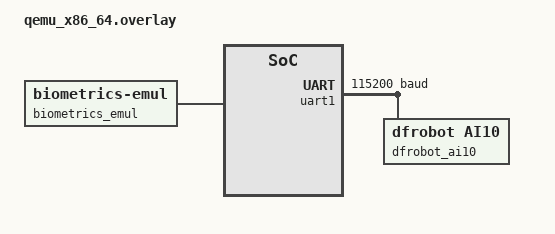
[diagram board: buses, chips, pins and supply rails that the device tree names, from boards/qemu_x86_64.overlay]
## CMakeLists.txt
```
# SPDX-License-Identifier: Apache-2.0

cmake_minimum_required(VERSION 3.20.0)

find_package(Zephyr REQUIRED HINTS $ENV{ZEPHYR_BASE})
project(biometric_station)

target_sources(app PRIVATE src/main.c)
```

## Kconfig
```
# Copyright (c) 2026 The Zephyr Project Contributors
# SPDX-License-Identifier: Apache-2.0

mainmenu "Biometric Station sample application"

config BIOMETRIC_STATION_ENABLE_ENROLL
	bool "Enable enrollment flow"
	default y
	help
	  When enabled, the sample checks whether any template is present and runs
	  the guided enrollment path when the database is empty.

	  When disabled, the application skips enrollment entirely and removes the
	  enrollment-specific UI so the station behaves as an identify-only kiosk.

source "Kconfig.zephyr"
```

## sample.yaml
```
# SPDX-License-Identifier: Apache-2.0

sample:
  name: Biometric Station
  description: LVGL kiosk-style biometrics demo for qemu_x86 using the generic biometrics API

common:
  modules:
    - lvgl
  tags:
    - biometrics
    - display
    - gui
    - lvgl
    - samples

tests:
  sample.drivers.biometrics.biometric_station:
    build_only: true
    filter: dt_alias_exists("biometrics") and dt_chosen_enabled("zephyr,display")
    platform_allow:
      - qemu_x86
```

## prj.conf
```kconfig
# SPDX-License-Identifier: Apache-2.0

CONFIG_BIOMETRICS=y
CONFIG_SERIAL=y
CONFIG_UART_INTERRUPT_DRIVEN=y

CONFIG_LOG=y
CONFIG_BIOMETRICS_LOG_LEVEL_INF=y

CONFIG_MAIN_STACK_SIZE=8192
CONFIG_HEAP_MEM_POOL_SIZE=16384

CONFIG_DISPLAY=y
CONFIG_DISPLAY_LOG_LEVEL_ERR=y

CONFIG_INPUT=y

CONFIG_LVGL=y
CONFIG_LV_USE_LOG=y
CONFIG_LV_COLOR_DEPTH_32=y

CONFIG_LV_USE_LABEL=y
CONFIG_LV_USE_BAR=y
CONFIG_LV_USE_SPINNER=y
CONFIG_LV_USE_ARC=y

CONFIG_LV_FONT_MONTSERRAT_14=y
CONFIG_LV_FONT_MONTSERRAT_18=y
CONFIG_LV_FONT_MONTSERRAT_24=y
CONFIG_LV_FONT_MONTSERRAT_32=y
CONFIG_LV_FONT_MONTSERRAT_48=y
CONFIG_LV_FONT_UNSCII_8=y
CONFIG_LV_FONT_UNSCII_16=y

CONFIG_BIOMETRIC_STATION_ENABLE_ENROLL=y
```

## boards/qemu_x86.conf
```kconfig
# SPDX-License-Identifier: Apache-2.0

CONFIG_MAIN_STACK_SIZE=16384
CONFIG_LV_Z_MEM_POOL_SIZE=98304
CONFIG_LV_DRAW_LAYER_SIMPLE_BUF_SIZE=32768
CONFIG_LV_DRAW_LAYER_MAX_MEMORY=98304

# To connect QEMU to a real sensor via USB-serial adapter, use the
# serial_bridge.py script (see scripts/ directory) which opens the host
# serial port at the correct baud rate and exposes a PTY for QEMU:
#
#   python3 scripts/serial_bridge.py /dev/tty.usbserial-XXXX 115200
#
# Then set the PTY path printed by the script below:
# CONFIG_QEMU_EXTRA_FLAGS="-serial /dev/ttysNNN"
#
# For testing with socat (fake responses):
#   socat -d -d pty,raw,echo=0 pty,raw,echo=0
CONFIG_QEMU_EXTRA_FLAGS="-serial /dev/ttys014"
CONFIG_QEMU_ICOUNT=n

CONFIG_LOG=y
CONFIG_BIOMETRICS_LOG_LEVEL_DBG=y

CONFIG_BIOMETRIC_STATION_ENABLE_ENROLL=n
```

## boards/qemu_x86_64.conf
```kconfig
# SPDX-License-Identifier: Apache-2.0

CONFIG_MAIN_STACK_SIZE=16384
CONFIG_LV_Z_MEM_POOL_SIZE=98304
CONFIG_LV_DRAW_LAYER_SIMPLE_BUF_SIZE=32768
CONFIG_LV_DRAW_LAYER_MAX_MEMORY=98304

CONFIG_QEMU_EXTRA_FLAGS="-serial /dev/ttys018"

CONFIG_LOG=y
CONFIG_BIOMETRICS_LOG_LEVEL_DBG=y
```

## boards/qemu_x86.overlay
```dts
/*
 * SPDX-License-Identifier: Apache-2.0
 */

/ {
	aliases {
		//		biometrics = &biometrics_emul;
		biometrics = &dfrobot_ai10;
	};

	biometrics_emul: biometrics-emul {
		compatible = "zephyr,biometrics-emul";
		status = "disabled";
	};
};

/* Board default attaches BT HCI on uart1; disable so the AI10 is the sole uart1 user. */
&bt_hci_uart {
	status = "disabled";
};

&uart1 {
	current-speed = <115200>;

	dfrobot_ai10: dfrobot_ai10 {
		compatible = "dfrobot,ai10";
		status = "okay";
	};
};
```

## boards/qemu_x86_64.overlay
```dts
/*
 * SPDX-License-Identifier: Apache-2.0
 */

/ {
	aliases {
		//		biometrics = &biometrics_emul;
		biometrics = &dfrobot_ai10;
	};

	biometrics_emul: biometrics-emul {
		compatible = "zephyr,biometrics-emul";
		status = "okay";
	};
};

&uart1 {
	current-speed = <115200>;

	dfrobot_ai10: dfrobot_ai10 {
		compatible = "dfrobot,ai10";
		status = "okay";
	};
};
```

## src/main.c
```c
/*
 * Copyright (c) 2026 The Zephyr Project Contributors
 *
 * SPDX-License-Identifier: Apache-2.0
 */

#include <zephyr/device.h>
#include <zephyr/devicetree.h>
#include <zephyr/drivers/biometrics.h>
#include <zephyr/drivers/biometrics_dfrobot_ai10.h>
#include <zephyr/drivers/biometrics/emul.h>
#include <zephyr/drivers/display.h>
#include <zephyr/drivers/uart.h>
#include <zephyr/kernel.h>
#include <zephyr/logging/log.h>
#include <zephyr/sys/util.h>

#include <lvgl.h>

#include <errno.h>
#include <stdio.h>
#include <string.h>

LOG_MODULE_REGISTER(app, LOG_LEVEL_INF);

#define BIOMETRICS_NODE DT_ALIAS(biometrics)

#if !DT_NODE_EXISTS(BIOMETRICS_NODE)
#error "Devicetree alias 'biometrics' must point at a biometric device"
#endif

#define ENROLL_TEMPLATE_ID 1U
#define SPLASH_TIME_MS     1200U
#define PROMPT_TIME_MS     1500U
#define WORKER_PRIORITY    8
#define WORKER_STACK_SIZE  4096
#define UI_QUEUE_LEN       8
#define UI_CARD_WIDTH_PCT  72
#define UI_PROGRESS_SCALE  100
#define RESULT_TECH_COLOR  0x8ea0b5

enum emul_behavior_mode {
	EMUL_BEHAVIOR_SUCCESS = 0,
	EMUL_BEHAVIOR_NO_MATCH,
	EMUL_BEHAVIOR_TIMEOUT,
};

#define APP_EMULATOR_BEHAVIOR EMUL_BEHAVIOR_SUCCESS

enum app_state {
	APP_STATE_SPLASH = 0,
	APP_STATE_ENROLLING,
	APP_STATE_PROMPT,
	APP_STATE_SCANNING,
	APP_STATE_RESULT,
};

enum worker_command_type {
	WORKER_CMD_ENROLL = 1,
	WORKER_CMD_IDENTIFY,
};

enum ui_event_type {
	UI_EVT_ENROLL_PROGRESS = 1,
	UI_EVT_ENROLL_DONE,
	UI_EVT_IDENTIFY_DONE,
};

struct worker_command {
	uint8_t type;
};

struct ui_event {
	uint8_t type;
	int32_t result;
	bool has_user_info;
	union {
		struct biometric_capture_result capture;
		struct biometric_match_result match;
	} data;
	struct dfrobot_ai10_user_info user_info;
};

K_MSGQ_DEFINE(worker_cmd_msgq, sizeof(struct worker_command), 4, 4);
K_MSGQ_DEFINE(ui_evt_msgq, sizeof(struct ui_event), UI_QUEUE_LEN, 4);
K_THREAD_STACK_DEFINE(worker_stack, WORKER_STACK_SIZE);

static const struct device *const biometric = DEVICE_DT_GET(BIOMETRICS_NODE);
static const struct device *const display = DEVICE_DT_GET(DT_CHOSEN(zephyr_display));
#if DT_HAS_CHOSEN(zephyr_console)
static const struct device *const console_dev = DEVICE_DT_GET(DT_CHOSEN(zephyr_console));
#else
static const struct device *const console_dev;
#endif

static struct k_thread worker_thread;

static enum app_state current_state;
static uint32_t state_deadline_ms;
static bool identify_requested;

static lv_obj_t *screen;
static lv_obj_t *ambient_top;
static lv_obj_t *ambient_bottom;
static lv_obj_t *card;
static lv_obj_t *badge;
static lv_obj_t *title_label;
static lv_obj_t *subtitle_label;
static lv_obj_t *hero_ring;
static lv_obj_t *success_icon;
static lv_obj_t *busy_spinner;
static lv_obj_t *progress_bar;
static lv_obj_t *metrics_label;
static lv_obj_t *footer_label;
static lv_obj_t *stage_row;
static lv_obj_t *stage_label[4];

static void set_state(enum app_state state, uint32_t duration_ms)
{
	current_state = state;
	state_deadline_ms = duration_ms == 0U ? 0U : k_uptime_get_32() + duration_ms;
}

static bool is_emulator(void)
{
	return DT_NODE_HAS_COMPAT(BIOMETRICS_NODE, zephyr_biometrics_emul);
}

static bool enrollment_enabled(void)
{
	return IS_ENABLED(CONFIG_BIOMETRIC_STATION_ENABLE_ENROLL);
}

static void queue_worker_command(enum worker_command_type type)
{
	const struct worker_command cmd = {
		.type = type,
	};

	if (k_msgq_put(&worker_cmd_msgq, &cmd, K_NO_WAIT) != 0) {
		LOG_ERR("Worker command queue full");
	}
}

static void queue_ui_event(const struct ui_event *evt)
{
	if (k_msgq_put(&ui_evt_msgq, evt, K_MSEC(250)) != 0) {
		LOG_ERR("UI event queue full");
	}
}

static bool templates_present(void)
{
	uint16_t ids[4];
	size_t count = 0;
	int ret;

	ret = biometric_template_list(biometric, ids, ARRAY_SIZE(ids), &count);
	if (ret < 0) {
		LOG_ERR("biometric_template_list failed: %d", ret);
		return false;
	}

	return count > 0U;
}

static void maybe_configure_identify_behavior(void)
{
	if (!is_emulator()) {
		return;
	}

	biometrics_emul_set_match_fail(biometric, false);
	biometrics_emul_set_capture_timeout(biometric, false);
	biometrics_emul_set_match_score(biometric, 92);
	biometrics_emul_set_image_quality(biometric, 88);
	biometrics_emul_set_match_id(biometric, ENROLL_TEMPLATE_ID);

	if (APP_EMULATOR_BEHAVIOR == EMUL_BEHAVIOR_NO_MATCH) {
		biometrics_emul_set_match_fail(biometric, true);
	} else if (APP_EMULATOR_BEHAVIOR == EMUL_BEHAVIOR_TIMEOUT) {
		biometrics_emul_set_capture_timeout(biometric, true);
	}
}

static void style_root(lv_obj_t *obj)
{
	lv_obj_set_style_bg_color(obj, lv_color_hex(0x0d1321), 0);
	lv_obj_set_style_bg_grad_color(obj, lv_color_hex(0x1d2d44), 0);
	lv_obj_set_style_bg_grad_dir(obj, LV_GRAD_DIR_VER, 0);
	lv_obj_set_style_bg_opa(obj, LV_OPA_COVER, 0);
	lv_obj_clear_flag(obj, LV_OBJ_FLAG_SCROLLABLE);
}

static void style_panel(lv_obj_t *obj, lv_color_t color, lv_opa_t opa)
{
	lv_obj_set_style_radius(obj, 32, 0);
	lv_obj_set_style_bg_color(obj, color, 0);
	lv_obj_set_style_bg_opa(obj, opa, 0);
	lv_obj_set_style_border_width(obj, 0, 0);
}

static void style_card(void)
{
	lv_obj_set_style_radius(card, 30, 0);
	lv_obj_set_style_bg_color(card, lv_color_hex(0x132238), 0);
	lv_obj_set_style_bg_grad_color(card, lv_color_hex(0x0f1b2d), 0);
	lv_obj_set_style_bg_grad_dir(card, LV_GRAD_DIR_VER, 0);
	lv_obj_set_style_bg_opa(card, LV_OPA_COVER, 0);
	lv_obj_set_style_border_color(card, lv_color_hex(0x2b4162), 0);
	lv_obj_set_style_border_width(card, 1, 0);
	lv_obj_set_style_pad_top(card, 34, 0);
	lv_obj_set_style_pad_bottom(card, 34, 0);
	lv_obj_set_style_pad_left(card, 36, 0);
	lv_obj_set_style_pad_right(card, 36, 0);
	lv_obj_set_style_pad_row(card, 16, 0);
}

static void build_stage_row(void)
{
	static const char *const labels_with_enroll[] = {"Intro", "Enroll", "Scan", "Result"};
	static const char *const labels_identify_only[] = {"Intro", "", "Scan", "Result"};
	const char *const *labels =
		enrollment_enabled() ? labels_with_enroll : labels_identify_only;

	stage_row = lv_obj_create(card);
	lv_obj_set_width(stage_row, LV_PCT(100));
	lv_obj_set_height(stage_row, LV_SIZE_CONTENT);
	lv_obj_set_style_bg_opa(stage_row, LV_OPA_TRANSP, 0);
	lv_obj_set_style_border_width(stage_row, 0, 0);
	lv_obj_set_style_pad_all(stage_row, 0, 0);
	lv_obj_set_style_pad_column(stage_row, 10, 0);
	lv_obj_set_flex_flow(stage_row, LV_FLEX_FLOW_ROW);
	lv_obj_set_flex_align(stage_row, LV_FLEX_ALIGN_SPACE_BETWEEN, LV_FLEX_ALIGN_CENTER,
			      LV_FLEX_ALIGN_CENTER);

	for (size_t i = 0; i < ARRAY_SIZE(stage_label); i++) {
		stage_label[i] = lv_label_create(stage_row);
		lv_label_set_text(stage_label[i], labels[i]);
		lv_obj_set_style_text_font(stage_label[i], &lv_font_montserrat_14, 0);

		if (!enrollment_enabled() && i == APP_STATE_ENROLLING) {
			lv_obj_add_flag(stage_label[i], LV_OBJ_FLAG_HIDDEN);
		}
	}
}

static void build_ui(void)
{
	screen = lv_obj_create(NULL);
	style_root(screen);

	ambient_top = lv_obj_create(screen);
	style_panel(ambient_top, lv_color_hex(0x2ec4b6), LV_OPA_20);
	lv_obj_set_size(ambient_top, 240, 140);
	lv_obj_align(ambient_top, LV_ALIGN_TOP_LEFT, 60, 50);

	ambient_bottom = lv_obj_create(screen);
	style_panel(ambient_bottom, lv_color_hex(0xff9f1c), LV_OPA_20);
	lv_obj_set_size(ambient_bottom, 200, 120);
	lv_obj_align(ambient_bottom, LV_ALIGN_BOTTOM_RIGHT, -70, -60);

	card = lv_obj_create(screen);
	style_card();
	lv_obj_set_width(card, LV_PCT(UI_CARD_WIDTH_PCT));
	lv_obj_set_height(card, LV_PCT(72));
	lv_obj_align(card, LV_ALIGN_CENTER, 0, 0);
	lv_obj_set_flex_flow(card, LV_FLEX_FLOW_COLUMN);
	lv_obj_set_flex_align(card, LV_FLEX_ALIGN_START, LV_FLEX_ALIGN_CENTER,
			      LV_FLEX_ALIGN_CENTER);

	badge = lv_label_create(card);
	lv_label_set_text(badge, "BIOMETRIC STATION");
	lv_obj_set_style_text_font(badge, &lv_font_montserrat_14, 0);
	lv_obj_set_style_text_letter_space(badge, 2, 0);
	lv_obj_set_style_text_color(badge, lv_color_hex(0x9ad1d4), 0);

	title_label = lv_label_create(card);
	lv_obj_set_width(title_label, LV_PCT(100));
	lv_obj_set_style_text_font(title_label, &lv_font_montserrat_32, 0);
	lv_obj_set_style_text_color(title_label, lv_color_hex(0xf0f4f8), 0);
	lv_obj_set_style_text_align(title_label, LV_TEXT_ALIGN_CENTER, 0);
	lv_label_set_long_mode(title_label, LV_LABEL_LONG_WRAP);

	subtitle_label = lv_label_create(card);
	lv_obj_set_width(subtitle_label, LV_PCT(100));
	lv_obj_set_style_text_font(subtitle_label, &lv_font_montserrat_18, 0);
	lv_obj_set_style_text_color(subtitle_label, lv_color_hex(0xb6c2cf), 0);
	lv_obj_set_style_text_align(subtitle_label, LV_TEXT_ALIGN_CENTER, 0);
	lv_label_set_long_mode(subtitle_label, LV_LABEL_LONG_WRAP);

	hero_ring = lv_arc_create(card);
	lv_obj_set_size(hero_ring, 170, 170);
	lv_arc_set_rotation(hero_ring, 120);
	lv_arc_set_bg_angles(hero_ring, 0, 300);
	lv_arc_set_range(hero_ring, 0, UI_PROGRESS_SCALE);
	lv_arc_set_value(hero_ring, 35);
	lv_obj_remove_style(hero_ring, NULL, LV_PART_KNOB);
	lv_obj_set_style_arc_width(hero_ring, 14, LV_PART_MAIN);
	lv_obj_set_style_arc_color(hero_ring, lv_color_hex(0x31445a), LV_PART_MAIN);
	lv_obj_set_style_arc_width(hero_ring, 14, LV_PART_INDICATOR);
	lv_obj_set_style_arc_color(hero_ring, lv_color_hex(0x2ec4b6), LV_PART_INDICATOR);
	lv_obj_set_style_pad_all(hero_ring, 8, 0);

	success_icon = lv_label_create(card);
	lv_label_set_text(success_icon, LV_SYMBOL_OK);
	lv_obj_set_style_text_font(success_icon, &lv_font_montserrat_48, 0);
	lv_obj_set_style_text_color(success_icon, lv_color_hex(0x22c55e), 0);
	lv_obj_set_style_text_align(success_icon, LV_TEXT_ALIGN_CENTER, 0);
	lv_obj_add_flag(success_icon, LV_OBJ_FLAG_HIDDEN);

	busy_spinner = lv_spinner_create(card);
	lv_obj_set_size(busy_spinner, 110, 110);
	lv_obj_center(busy_spinner);
	lv_obj_add_flag(busy_spinner, LV_OBJ_FLAG_HIDDEN);

	progress_bar = lv_bar_create(card);
	lv_obj_set_width(progress_bar, LV_PCT(100));
	lv_obj_set_height(progress_bar, 14);
	lv_bar_set_range(progress_bar, 0, UI_PROGRESS_SCALE);
	lv_obj_set_style_bg_color(progress_bar, lv_color_hex(0x203246), LV_PART_MAIN);
	lv_obj_set_style_bg_opa(progress_bar, LV_OPA_COVER, LV_PART_MAIN);
	lv_obj_set_style_radius(progress_bar, 12, LV_PART_MAIN);
	lv_obj_set_style_bg_color(progress_bar, lv_color_hex(0x2ec4b6), LV_PART_INDICATOR);
	lv_obj_set_style_radius(progress_bar, 12, LV_PART_INDICATOR);

	metrics_label = lv_label_create(card);
	lv_obj_set_width(metrics_label, LV_PCT(100));
	lv_obj_set_style_text_font(metrics_label, &lv_font_unscii_8, 0);
	lv_obj_set_style_text_color(metrics_label, lv_color_hex(RESULT_TECH_COLOR), 0);
	lv_obj_set_style_text_align(metrics_label, LV_TEXT_ALIGN_CENTER, 0);
	lv_label_set_long_mode(metrics_label, LV_LABEL_LONG_WRAP);

	build_stage_row();

	footer_label = lv_label_create(card);
	lv_obj_set_width(footer_label, LV_PCT(100));
	lv_obj_set_style_text_font(footer_label, &lv_font_montserrat_14, 0);
	lv_obj_set_style_text_color(footer_label, lv_color_hex(0x7d8ca1), 0);
	lv_obj_set_style_text_align(footer_label, LV_TEXT_ALIGN_CENTER, 0);
	lv_label_set_long_mode(footer_label, LV_LABEL_LONG_WRAP);

	lv_screen_load(screen);
}

static void update_stage_labels(enum app_state state)
{
	static const lv_color_t inactive = LV_COLOR_MAKE(0x89, 0x98, 0xaa);
	static const lv_color_t active = LV_COLOR_MAKE(0xf0, 0xf4, 0xf8);
	static const lv_color_t done = LV_COLOR_MAKE(0x2e, 0xc4, 0xb6);

	for (size_t i = 0; i < ARRAY_SIZE(stage_label); i++) {
		lv_color_t color = inactive;

		if (!enrollment_enabled() && i == APP_STATE_ENROLLING) {
			continue;
		}

		if (state == APP_STATE_RESULT) {
			color = (i < 3U) ? done : active;
		} else if (i < (size_t)state) {
			color = done;
		} else if (i == (size_t)state) {
			color = active;
		}

		lv_obj_set_style_text_color(stage_label[i], color, 0);
	}
}

static void set_ring_visual(lv_color_t color, int value)
{
	lv_arc_set_value(hero_ring, CLAMP(value, 0, UI_PROGRESS_SCALE));
	lv_obj_set_style_arc_color(hero_ring, color, LV_PART_INDICATOR);
}

static void show_busy_spinner(bool show)
{
	if (show) {
		lv_obj_clear_flag(busy_spinner, LV_OBJ_FLAG_HIDDEN);
	} else {
		lv_obj_add_flag(busy_spinner, LV_OBJ_FLAG_HIDDEN);
	}
}

static void show_success_icon(bool show)
{
	if (show) {
		lv_obj_clear_flag(success_icon, LV_OBJ_FLAG_HIDDEN);
	} else {
		lv_obj_add_flag(success_icon, LV_OBJ_FLAG_HIDDEN);
	}
}

static void show_hero_ring(bool show)
{
	if (show) {
		lv_obj_clear_flag(hero_ring, LV_OBJ_FLAG_HIDDEN);
	} else {
		lv_obj_add_flag(hero_ring, LV_OBJ_FLAG_HIDDEN);
	}
}

static void show_progress_bar(bool show)
{
	if (show) {
		lv_obj_clear_flag(progress_bar, LV_OBJ_FLAG_HIDDEN);
	} else {
		lv_obj_add_flag(progress_bar, LV_OBJ_FLAG_HIDDEN);
	}
}

static void show_stage_row(bool show)
{
	if (show) {
		lv_obj_clear_flag(stage_row, LV_OBJ_FLAG_HIDDEN);
	} else {
		lv_obj_add_flag(stage_row, LV_OBJ_FLAG_HIDDEN);
	}
}

static void render_splash_state(void)
{
	set_state(APP_STATE_SPLASH, SPLASH_TIME_MS);
	update_stage_labels(APP_STATE_SPLASH);
	set_ring_visual(lv_color_hex(0xff9f1c), 18);
	show_busy_spinner(false);
	show_success_icon(false);
	show_hero_ring(true);
	show_progress_bar(false);
	show_stage_row(true);
	lv_bar_set_value(progress_bar, 0, LV_ANIM_OFF);
	lv_label_set_text(title_label, "Initializing station");
	lv_label_set_text(subtitle_label, "Preparing the display pipeline and biometric session.");
	lv_label_set_text(metrics_label, "Resolution 1024 x 768");
	lv_label_set_text(footer_label, "qemu_x86 RAM framebuffer with generic biometrics API");
}

static void render_console_gate_state(void)
{
	set_state(APP_STATE_SPLASH, 0);
	update_stage_labels(APP_STATE_SPLASH);
	set_ring_visual(lv_color_hex(0x5bc0eb), 12);
	show_busy_spinner(false);
	show_success_icon(false);
	show_hero_ring(true);
	show_progress_bar(false);
	show_stage_row(false);
	lv_bar_set_value(progress_bar, 0, LV_ANIM_OFF);
	lv_label_set_text(title_label, "Station armed");
	lv_label_set_text(subtitle_label,
			  "Press any key on the Zephyr console to start the biometric flow.");
	lv_label_set_text(metrics_label, "console gate enabled");
	lv_label_set_text(footer_label,
			  "This keeps the demo idle until the sensor setup is ready.");
}

static void wait_for_console_key(void)
{
	unsigned char ch;

	if (console_dev == NULL || !device_is_ready(console_dev)) {
		LOG_WRN("Console device unavailable, starting immediately");
		return;
	}

	/* Drop any pending bytes so a previous terminal session does not auto-start the demo. */
	while (uart_poll_in(console_dev, &ch) == 0) {
	}

	LOG_INF("Press any key on %s to start the station", console_dev->name);

	while (uart_poll_in(console_dev, &ch) != 0) {
		k_msleep(MIN(lv_timer_handler(), 10U));
	}

	LOG_INF("Startup key received: 0x%02x", ch);
}

#if defined(CONFIG_BIOMETRIC_STATION_ENABLE_ENROLL)
static void render_enroll_idle_state(void)
{
	set_state(APP_STATE_ENROLLING, 0);
	update_stage_labels(APP_STATE_ENROLLING);
	set_ring_visual(lv_color_hex(0x2ec4b6), 8);
	show_busy_spinner(false);
	show_success_icon(false);
	show_hero_ring(true);
	show_progress_bar(true);
	show_stage_row(true);
	lv_bar_set_value(progress_bar, 0, LV_ANIM_OFF);
	lv_label_set_text(title_label, "Registering identity");
	lv_label_set_text(subtitle_label,
			  "No template is stored yet. Enrollment starts automatically.");
	lv_label_set_text(metrics_label, "Waiting for biometric samples");
	lv_label_set_text(footer_label, "The worker thread is capturing enrollment data now.");
}
#endif

static void render_prompt_state(void)
{
	set_state(APP_STATE_PROMPT, PROMPT_TIME_MS);
	identify_requested = false;
	update_stage_labels(APP_STATE_PROMPT);
	set_ring_visual(lv_color_hex(0x5bc0eb), 64);
	show_busy_spinner(false);
	show_success_icon(false);
	show_hero_ring(true);
	show_progress_bar(true);
	show_stage_row(enrollment_enabled());
	lv_bar_set_value(progress_bar, UI_PROGRESS_SCALE, LV_ANIM_ON);
	lv_label_set_text(title_label, "Identify yourself");
	lv_label_set_text(subtitle_label,
			  "Hold steady for the next scan. The station will begin automatically.");
	lv_label_set_text(metrics_label, "profile ready");
	lv_label_set_text(footer_label, "Starting identification shortly.");
}

static void render_scanning_state(void)
{
	set_state(APP_STATE_SCANNING, 0);
	update_stage_labels(APP_STATE_SCANNING);
	set_ring_visual(lv_color_hex(0xff9f1c), 82);
	show_busy_spinner(true);
	show_success_icon(false);
	show_hero_ring(false);
	show_progress_bar(false);
	show_stage_row(false);
	lv_bar_set_value(progress_bar, 0, LV_ANIM_OFF);
	lv_label_set_text(title_label, "Scanning");
	lv_label_set_text(subtitle_label, "Comparing live capture against the enrolled profile.");
	lv_label_set_text(metrics_label, "Authentication in progress");
	lv_label_set_text(footer_label, "Waiting for the match result.");
}

static void render_result_success(const struct ui_event *evt)
{
	const struct biometric_match_result *match = &evt->data.match;
	char metrics[128];
	const char *name = (evt->has_user_info && evt->user_info.user_name[0] != '\0')
				   ? evt->user_info.user_name
				   : "recognized user";

	set_state(APP_STATE_RESULT, 0);
	update_stage_labels(APP_STATE_RESULT);
	set_ring_visual(lv_color_hex(0x2ec4b6), UI_PROGRESS_SCALE);
	show_busy_spinner(false);
	show_success_icon(true);
	show_hero_ring(false);
	show_progress_bar(false);
	show_stage_row(false);
	lv_bar_set_value(progress_bar, 0, LV_ANIM_OFF);
	lv_label_set_text(title_label, "Welcome back");
	lv_label_set_text(subtitle_label, name);
	snprintk(metrics, sizeof(metrics), "uid:%u / confidence:%d / quality:%u",
		 match->template_id, match->confidence, match->image_quality);
	lv_label_set_text(metrics_label, metrics);
	lv_label_set_text(footer_label, "Identity confirmed. The station remains on this result.");
}

static void render_result_failure(int32_t result)
{
	lv_color_t ring_color;
	const char *title;
	const char *subtitle;

	set_state(APP_STATE_RESULT, 0);
	update_stage_labels(APP_STATE_RESULT);
	show_busy_spinner(false);
	show_success_icon(false);
	show_hero_ring(true);
	show_progress_bar(false);
	show_stage_row(false);
	lv_bar_set_value(progress_bar, 0, LV_ANIM_OFF);

	if (result == -ENOENT) {
		ring_color = lv_color_hex(0xe76f51);
		title = "Not recognized";
		subtitle = "No stored identity matched the captured biometric data.";
	} else if (result == -ETIMEDOUT) {
		ring_color = lv_color_hex(0xffb703);
		title = "Timed out";
		subtitle = "The sensor did not complete the scan before the timeout expired.";
	} else {
		ring_color = lv_color_hex(0xe63946);
		title = "Error";
		subtitle = "The biometric operation failed before a usable result was produced.";
	}

	set_ring_visual(ring_color, 100);
	lv_label_set_text(title_label, title);
	lv_label_set_text(subtitle_label, subtitle);
	lv_label_set_text(metrics_label, "status: held for inspection");
	lv_label_set_text(footer_label,
			  "Check sensor configuration or emulator behavior and rerun.");
}

#if defined(CONFIG_BIOMETRIC_STATION_ENABLE_ENROLL)
static void handle_enroll_progress(const struct biometric_capture_result *capture)
{
	char detail[96];
	int progress;

	progress = (capture->samples_captured * UI_PROGRESS_SCALE) / capture->samples_required;
	set_ring_visual(lv_color_hex(0x2ec4b6), progress);
	lv_bar_set_value(progress_bar, progress, LV_ANIM_ON);
	snprintk(detail, sizeof(detail), "Sample %u/%u captured   Quality %u",
		 capture->samples_captured, capture->samples_required, capture->quality);
	lv_label_set_text(metrics_label, detail);

	if (capture->samples_captured < capture->samples_required) {
		lv_label_set_text(subtitle_label,
				  "Enrollment is underway. Additional samples are still needed.");
		lv_label_set_text(footer_label, "The next sample is captured automatically.");
	} else {
		lv_label_set_text(subtitle_label, "Enrollment data complete. Finalizing template.");
		lv_label_set_text(footer_label,
				  "Writing the new identity to the biometrics device.");
	}
}
#endif

static void process_ui_event(const struct ui_event *evt)
{
	switch (evt->type) {
#if defined(CONFIG_BIOMETRIC_STATION_ENABLE_ENROLL)
	case UI_EVT_ENROLL_PROGRESS:
		handle_enroll_progress(&evt->data.capture);
		break;
	case UI_EVT_ENROLL_DONE:
		if (evt->result == 0) {
			render_prompt_state();
		} else {
			render_result_failure(evt->result);
		}
		break;
#endif
	case UI_EVT_IDENTIFY_DONE:
		if (evt->result == 0) {
			render_result_success(evt);
		} else {
			render_result_failure(evt->result);
		}
		break;
	default:
		break;
	}
}

#if defined(CONFIG_BIOMETRIC_STATION_ENABLE_ENROLL)
static void worker_run_enroll(void)
{
	struct biometric_capabilities capabilities;
	struct ui_event evt = {0};
	int ret;

	ret = biometric_get_capabilities(biometric, &capabilities);
	if (ret < 0) {
		evt.type = UI_EVT_ENROLL_DONE;
		evt.result = ret;
		queue_ui_event(&evt);
		return;
	}

	ret = biometric_enroll_start(biometric, ENROLL_TEMPLATE_ID);
	if (ret < 0) {
		evt.type = UI_EVT_ENROLL_DONE;
		evt.result = ret;
		queue_ui_event(&evt);
		return;
	}

	while (true) {
		struct biometric_capture_result capture = {0};

		ret = biometric_enroll_capture(biometric, K_SECONDS(20), &capture);
		if (ret < 0) {
			(void)biometric_enroll_abort(biometric);
			evt.type = UI_EVT_ENROLL_DONE;
			evt.result = ret;
			queue_ui_event(&evt);
			return;
		}

		evt.type = UI_EVT_ENROLL_PROGRESS;
		evt.result = 0;
		evt.data.capture = capture;
		queue_ui_event(&evt);

		if (capture.samples_captured >= capabilities.enrollment_samples_required) {
			break;
		}
	}

	evt.type = UI_EVT_ENROLL_DONE;
	evt.result = biometric_enroll_finalize(biometric);
	queue_ui_event(&evt);
}
#endif

static void worker_run_identify(void)
{
	struct ui_event evt = {0};

	maybe_configure_identify_behavior();
	evt.type = UI_EVT_IDENTIFY_DONE;
	evt.result = biometric_match(biometric, BIOMETRIC_MATCH_IDENTIFY, 0, K_SECONDS(40),
				     &evt.data.match);
	if (evt.result == 0 && dfrobot_ai10_is_ready(biometric)) {
		if (dfrobot_ai10_user_info_get(biometric, evt.data.match.template_id,
					       &evt.user_info) == 0) {
			evt.has_user_info = true;
		}
	}
	queue_ui_event(&evt);
}

static void worker_entry(void *p1, void *p2, void *p3)
{
	ARG_UNUSED(p1);
	ARG_UNUSED(p2);
	ARG_UNUSED(p3);

	while (true) {
		struct worker_command cmd;

		k_msgq_get(&worker_cmd_msgq, &cmd, K_FOREVER);

		switch (cmd.type) {
#if defined(CONFIG_BIOMETRIC_STATION_ENABLE_ENROLL)
		case WORKER_CMD_ENROLL:
			worker_run_enroll();
			break;
#endif
		case WORKER_CMD_IDENTIFY:
			worker_run_identify();
			break;
		default:
			break;
		}
	}
}

static void step_state_machine(void)
{
	if (state_deadline_ms == 0U || k_uptime_get_32() < state_deadline_ms) {
		return;
	}

	state_deadline_ms = 0U;

	switch (current_state) {
	case APP_STATE_SPLASH:
		if (!enrollment_enabled() || templates_present()) {
			render_prompt_state();
		}
#if defined(CONFIG_BIOMETRIC_STATION_ENABLE_ENROLL)
		else {
			render_enroll_idle_state();
			queue_worker_command(WORKER_CMD_ENROLL);
		}
#endif
		break;
	case APP_STATE_PROMPT:
		if (!identify_requested) {
			identify_requested = true;
			render_scanning_state();
			queue_worker_command(WORKER_CMD_IDENTIFY);
		}
		break;
	default:
		break;
	}
}

int main(void)
{
	int ret;
	struct ui_event evt;

	if (!device_is_ready(biometric)) {
		LOG_ERR("Biometrics device not ready");
		return 0;
	}

	if (!device_is_ready(display)) {
		LOG_ERR("Display device not ready");
		return 0;
	}

	build_ui();
	render_console_gate_state();

	ret = display_blanking_off(display);
	if (ret < 0 && ret != -ENOSYS) {
		LOG_ERR("display_blanking_off failed: %d", ret);
	}

	wait_for_console_key();

	k_thread_create(&worker_thread, worker_stack, K_THREAD_STACK_SIZEOF(worker_stack),
			worker_entry, NULL, NULL, NULL, WORKER_PRIORITY, 0, K_NO_WAIT);
	k_thread_name_set(&worker_thread, "bio_station");

	render_splash_state();

	while (1) {
		while (k_msgq_get(&ui_evt_msgq, &evt, K_NO_WAIT) == 0) {
			process_ui_event(&evt);
		}

		step_state_machine();

		k_msleep(MIN(lv_timer_handler(), 10U));
	}
}
```
